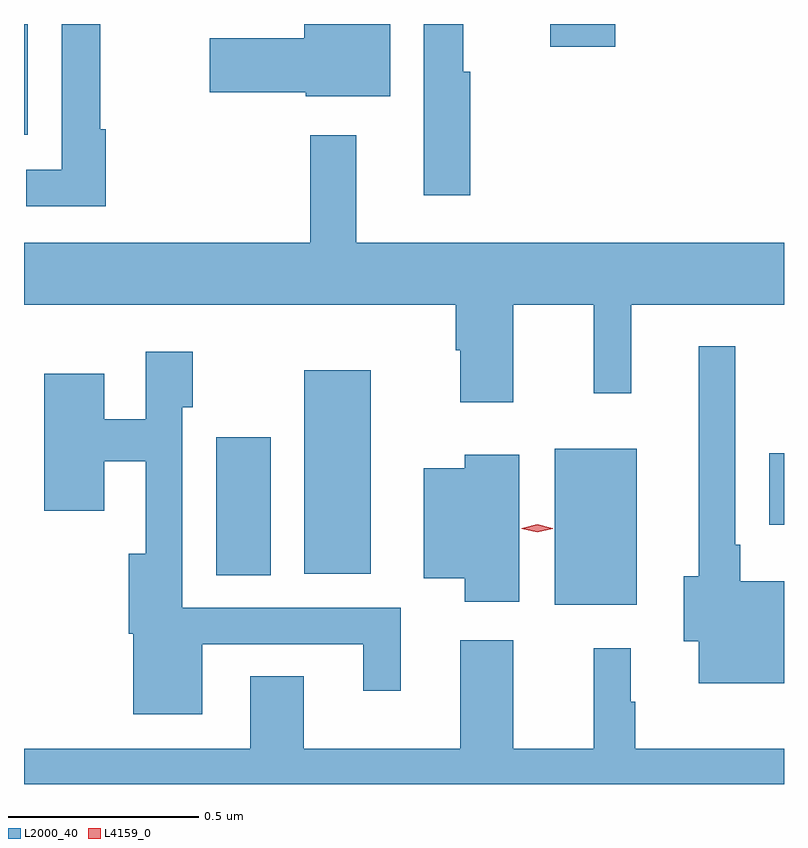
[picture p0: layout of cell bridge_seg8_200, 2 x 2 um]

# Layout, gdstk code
import gdstk
lib = gdstk.Library(unit=1e-6, precision=1e-09)
def R(c, l, rs):  # rectangles x0, y0, x1, y1
    for r in rs: c.add(gdstk.rectangle(r[:2], r[2:], *l))
def P(c, l, *ps):  # polygons
    for p in ps: c.add(gdstk.Polygon(p, *l))
L2000_40 = (2000, 40)
L4159_0 = (4159, 0)

bridge_seg8_200 = lib.new_cell('bridge_seg8_200')
R(bridge_seg8_200, L2000_40, [(245.72,1122.371,245.935,1122.781), (244.829,1122.448,244.972,1122.811), (245.06,1122.452,245.236,1122.988), (246.284,1122.581,246.323,1122.769), (244.323,1123.607,244.333,1123.899), (245.708,1123.839,245.879,1123.899)])
P(bridge_seg8_200, L2000_40, [(245.497,1123.773),(245.479,1123.773),(245.479,1123.899),(245.375,1123.899),(245.375,1123.449),(245.497,1123.449)],
  [(245.287,1123.899),(245.06,1123.899),(245.06,1123.862),(244.812,1123.862),(244.812,1123.72),(245.064,1123.72),(245.064,1123.709),(245.287,1123.709)],
  [(244.538,1123.622),(244.523,1123.622),(244.523,1123.899),(244.422,1123.899),(244.422,1123.516),(244.329,1123.516),(244.329,1123.419),(244.538,1123.419)],
  [(245.611,1123.16),(245.822,1123.16),(245.822,1122.927),(245.921,1122.927),(245.921,1123.16),(246.323,1123.16),(246.323,1123.324),(245.197,1123.324),(245.197,1123.606),(245.076,1123.606),(245.076,1123.324),(244.323,1123.324),(244.323,1123.16),(245.459,1123.16),(245.459,1123.04),(245.471,1123.04),(245.471,1122.903),(245.611,1122.903)],
  [(246.323,1122.433),(246.208,1122.433),(246.208,1122.529),(246.195,1122.529),(246.195,1123.051),(246.098,1123.051),(246.098,1122.446),(246.059,1122.446),(246.059,1122.275),(246.098,1122.275),(246.098,1122.164),(246.323,1122.164)],
  [(244.792,1122.267),(245.216,1122.267),(245.216,1122.144),(245.314,1122.144),(245.314,1122.363),(244.74,1122.363),(244.74,1122.891),(244.767,1122.891),(244.767,1123.036),(244.644,1123.036),(244.644,1122.859),(244.534,1122.859),(244.534,1122.979),(244.376,1122.979),(244.376,1122.618),(244.534,1122.618),(244.534,1122.748),(244.644,1122.748),(244.644,1122.505),(244.598,1122.505),(244.598,1122.294),(244.61,1122.294),(244.61,1122.083),(244.792,1122.083)],
  [(245.626,1122.766),(245.483,1122.766),(245.483,1122.73),(245.375,1122.73),(245.375,1122.44),(245.483,1122.44),(245.483,1122.378),(245.626,1122.378)],
  [(246.323,1121.992),(245.932,1121.992),(245.932,1122.116),(245.92,1122.116),(245.92,1122.256),(245.822,1122.256),(245.822,1121.992),(245.611,1121.992),(245.611,1122.277),(245.471,1122.277),(245.471,1121.992),(245.059,1121.992),(245.059,1122.182),(244.919,1122.182),(244.919,1121.992),(244.323,1121.992),(244.323,1121.899),(246.323,1121.899)])
P(bridge_seg8_200, L4159_0, [(245.674,1122.562),(245.633,1122.571),(245.633,1122.572),(245.633,1122.572),(245.674,1122.582),(245.714,1122.572),(245.714,1122.572),(245.714,1122.571)])

lib.write_gds('bridge_seg8_200.gds')
